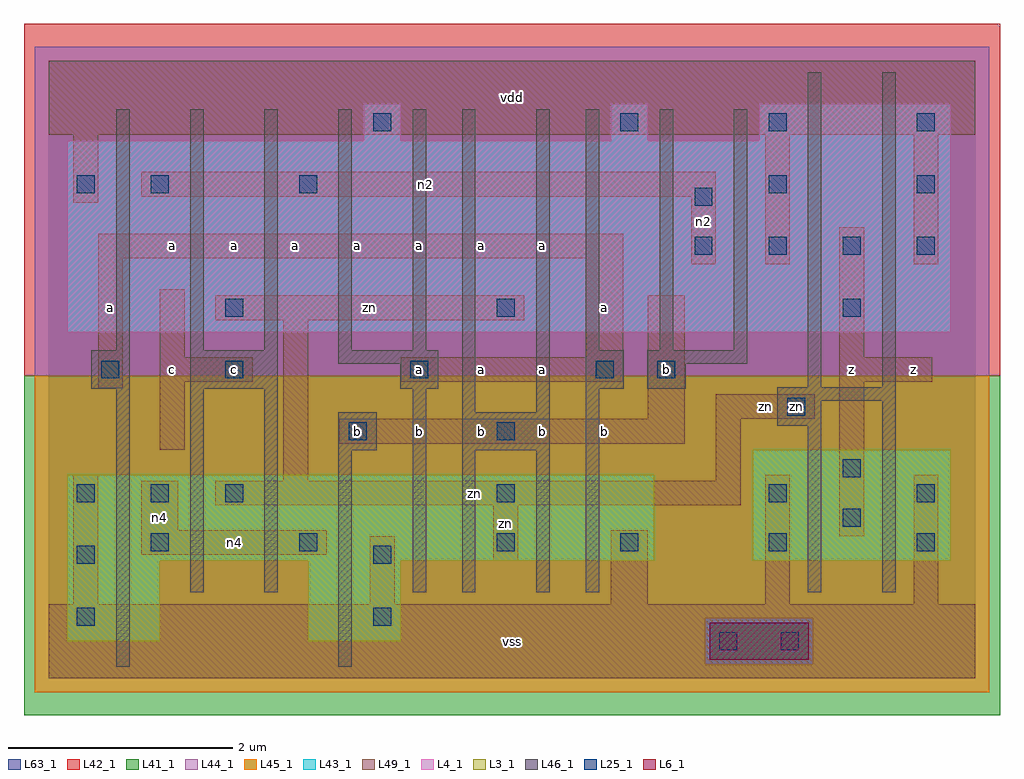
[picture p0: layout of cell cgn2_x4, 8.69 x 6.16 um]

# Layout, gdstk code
import gdstk
lib = gdstk.Library(unit=1e-6, precision=1e-09)
def R(c, l, rs):  # rectangles x0, y0, x1, y1
    for r in rs: c.add(gdstk.rectangle(r[:2], r[2:], *l))
def A(c, l, x, y, w, h, nx, ny, dx, dy):  # array of equal rectangles
    R(c, l, [(x+i*dx, y+j*dy, x+i*dx+w, y+j*dy+h) for i in range(nx) for j in range(ny)])
L3_1 = (3, 1)
L4_1 = (4, 1)
L6_1 = (6, 1)
L25_1 = (25, 1)
L41_1 = (41, 1)
L42_1 = (42, 1)
L43_1 = (43, 1)
L44_1 = (44, 1)
L45_1 = (45, 1)
L46_1 = (46, 1)
L49_1 = (49, 1)
L63_1 = (63, 1)

cgn2_x4 = lib.new_cell('cgn2_x4')
R(cgn2_x4, L3_1, [(0.165,0.33,0.99,1.045), (2.31,0.33,3.135,1.045), (0.165,1.045,5.39,1.815), (6.27,1.045,8.03,2.035)])
R(cgn2_x4, L4_1, [(0.165,3.08,8.03,4.785), (2.805,4.785,3.135,5.115), (5.005,4.785,5.335,5.115), (6.325,4.785,8.03,5.115)])
R(cgn2_x4, L6_1, [(5.885,0.165,6.765,0.495)])
A(cgn2_x4, L25_1, 5.09, 1.13, 0.16, 0.16, 3, 2, 1.32, 3.74)
A(cgn2_x4, L25_1, 0.25, 1.57, 0.16, 0.16, 3, 1, 0.66, 0)
A(cgn2_x4, L25_1, 1.57, 2.67, 0.16, 0.16, 3, 1, 1.65, 0)
A(cgn2_x4, L25_1, 5.75, 3.77, 0.16, 0.16, 4, 1, 0.66, 0)
R(cgn2_x4, L25_1, [(5.97,0.25,6.13,0.41), (6.52,0.25,6.68,0.41), (0.25,0.47,0.41,0.63), (2.89,0.47,3.05,0.63), (0.25,1.02,0.41,1.18), (2.89,1.02,3.05,1.18), (0.91,1.13,1.07,1.29), (2.23,1.13,2.39,1.29), (3.99,1.13,4.15,1.29), (7.07,1.35,7.23,1.51), (3.99,1.57,4.15,1.73), (6.41,1.57,6.57,1.73), (7.73,1.57,7.89,1.73), (7.07,1.79,7.23,1.95), (2.67,2.12,2.83,2.28), (3.99,2.12,4.15,2.28), (6.575,2.34,6.735,2.5), (0.47,2.67,0.63,2.83), (5.42,2.67,5.58,2.83), (1.57,3.22,1.73,3.38), (3.99,3.22,4.15,3.38), (7.07,3.22,7.23,3.38), (5.75,4.21,5.91,4.37), (0.25,4.32,0.41,4.48), (0.91,4.32,1.07,4.48), (2.23,4.32,2.39,4.48), (6.41,4.32,6.57,4.48), (7.73,4.32,7.89,4.48), (2.89,4.87,3.05,5.03)])
R(cgn2_x4, L41_1, [(-0.22,-0.33,8.47,2.695)])
R(cgn2_x4, L42_1, [(-0.22,2.695,8.47,5.83)])
R(cgn2_x4, L43_1, [(5.885,0.165,6.765,0.495), (0.165,0.33,0.99,1.045), (2.31,0.33,3.135,1.045), (0.165,1.045,5.39,1.815), (6.27,1.045,8.03,2.035), (0.165,3.08,8.03,4.785), (2.805,4.785,3.135,5.115), (5.005,4.785,5.335,5.115), (6.325,4.785,8.03,5.115)])
R(cgn2_x4, L44_1, [(5.845,0.125,6.805,0.535), (-0.125,2.695,8.375,5.625)])
R(cgn2_x4, L45_1, [(-0.125,-0.125,8.375,0.125), (-0.125,0.125,5.845,0.535), (6.805,0.125,8.375,0.535), (-0.125,0.535,8.375,2.695)])
A(cgn2_x4, L46_1, 0.6, 2.92, 0.12, 2.145, 5, 1, 0.66, 0)
A(cgn2_x4, L46_1, 4.78, 2.92, 0.12, 2.145, 3, 1, 0.66, 0)
R(cgn2_x4, L46_1, [(0.6,0.105,0.72,2.58), (2.58,0.105,2.7,2.03), (1.26,0.765,1.38,2.58), (1.92,0.765,2.04,2.58), (3.24,0.765,3.36,2.58), (3.68,0.765,3.8,2.03), (4.34,0.765,4.46,2.03), (4.78,0.765,4.9,2.58), (6.76,0.765,6.88,2.25), (7.42,0.765,7.54,2.47), (2.58,2.03,2.92,2.37), (3.68,2.03,4.46,2.37), (6.485,2.25,6.88,2.47), (3.68,2.37,3.8,5.065), (4.34,2.37,4.46,5.065), (6.485,2.47,7.54,2.59), (0.38,2.58,0.72,2.92), (1.26,2.58,2.04,2.92), (3.13,2.58,3.47,2.8), (4.78,2.58,5.12,2.92), (5.33,2.58,5.67,2.8), (6.76,2.59,6.88,5.395), (7.42,2.59,7.54,5.395), (2.58,2.8,3.47,2.92), (5.33,2.8,6.22,2.92)])
R(cgn2_x4, L49_1, [(0,0,8.25,0.66), (0.22,0.66,0.44,1.815), (2.86,0.66,3.08,1.265), (5.005,0.66,5.335,1.32), (6.38,0.66,6.6,1.815), (7.7,0.66,7.92,1.815), (3.96,1.045,4.18,1.54), (0.825,1.1,2.475,1.32), (7.04,1.265,7.26,2.64), (0.825,1.32,1.155,1.76), (1.485,1.54,6.16,1.76), (2.09,1.76,2.31,3.19), (5.94,1.76,6.16,2.31), (0.99,2.035,1.21,2.64), (2.585,2.09,5.665,2.31), (5.335,2.31,5.665,3.41), (5.94,2.31,6.82,2.53), (0.44,2.585,0.66,3.74), (0.99,2.64,1.815,2.86), (3.135,2.64,5.115,2.86), (7.04,2.64,7.865,2.86), (0.99,2.86,1.21,3.465), (4.785,2.86,5.115,3.74), (7.04,2.86,7.26,4.015), (1.485,3.19,4.235,3.41), (5.72,3.685,5.94,4.29), (6.38,3.685,6.6,4.84), (7.7,3.685,7.92,4.84), (0.44,3.74,5.115,3.96), (0.22,4.235,0.44,4.84), (0.825,4.29,5.94,4.51), (0,4.84,8.25,5.5)])
R(cgn2_x4, L63_1, [(0,0,8.25,5.5)])
cgn2_x4.add(gdstk.Label('zn', (6.655,2.42), layer=49, texttype=1))
cgn2_x4.add(gdstk.Label('n4', (0.99,1.43), layer=49, texttype=1))
cgn2_x4.add(gdstk.Label('c', (1.1,2.75), layer=49, texttype=1))
cgn2_x4.add(gdstk.Label('c', (1.1,2.75), layer=49, texttype=1))
cgn2_x4.add(gdstk.Label('a', (0.55,3.3), layer=49, texttype=1))
cgn2_x4.add(gdstk.Label('a', (0.55,3.3), layer=49, texttype=1))
cgn2_x4.add(gdstk.Label('a', (1.1,3.85), layer=49, texttype=1))
cgn2_x4.add(gdstk.Label('a', (1.1,3.85), layer=49, texttype=1))
cgn2_x4.add(gdstk.Label('n4', (1.65,1.21), layer=49, texttype=1))
cgn2_x4.add(gdstk.Label('b', (2.75,2.2), layer=49, texttype=1))
cgn2_x4.add(gdstk.Label('b', (2.75,2.2), layer=49, texttype=1))
cgn2_x4.add(gdstk.Label('c', (1.65,2.75), layer=49, texttype=1))
cgn2_x4.add(gdstk.Label('c', (1.65,2.75), layer=49, texttype=1))
cgn2_x4.add(gdstk.Label('a', (1.65,3.85), layer=49, texttype=1))
cgn2_x4.add(gdstk.Label('a', (1.65,3.85), layer=49, texttype=1))
cgn2_x4.add(gdstk.Label('a', (2.2,3.85), layer=49, texttype=1))
cgn2_x4.add(gdstk.Label('a', (2.75,3.85), layer=49, texttype=1))
cgn2_x4.add(gdstk.Label('a', (2.2,3.85), layer=49, texttype=1))
cgn2_x4.add(gdstk.Label('a', (2.75,3.85), layer=49, texttype=1))
cgn2_x4.add(gdstk.Label('vss', (4.125,0.33), layer=49, texttype=1))
cgn2_x4.add(gdstk.Label('vss', (4.125,0.33), layer=49, texttype=1))
cgn2_x4.add(gdstk.Label('zn', (4.07,1.375), layer=49, texttype=1))
cgn2_x4.add(gdstk.Label('b', (3.85,2.2), layer=49, texttype=1))
cgn2_x4.add(gdstk.Label('b', (4.4,2.2), layer=49, texttype=1))
cgn2_x4.add(gdstk.Label('b', (3.85,2.2), layer=49, texttype=1))
cgn2_x4.add(gdstk.Label('b', (4.4,2.2), layer=49, texttype=1))
cgn2_x4.add(gdstk.Label('b', (3.3,2.2), layer=49, texttype=1))
cgn2_x4.add(gdstk.Label('b', (3.3,2.2), layer=49, texttype=1))
cgn2_x4.add(gdstk.Label('a', (3.3,2.75), layer=49, texttype=1))
cgn2_x4.add(gdstk.Label('a', (3.3,2.75), layer=49, texttype=1))
cgn2_x4.add(gdstk.Label('a', (4.4,2.75), layer=49, texttype=1))
cgn2_x4.add(gdstk.Label('a', (3.85,2.75), layer=49, texttype=1))
cgn2_x4.add(gdstk.Label('a', (3.85,2.75), layer=49, texttype=1))
cgn2_x4.add(gdstk.Label('a', (4.4,2.75), layer=49, texttype=1))
cgn2_x4.add(gdstk.Label('zn', (2.86,3.3), layer=49, texttype=1))
cgn2_x4.add(gdstk.Label('a', (3.3,3.85), layer=49, texttype=1))
cgn2_x4.add(gdstk.Label('a', (3.3,3.85), layer=49, texttype=1))
cgn2_x4.add(gdstk.Label('a', (4.4,3.85), layer=49, texttype=1))
cgn2_x4.add(gdstk.Label('a', (3.85,3.85), layer=49, texttype=1))
cgn2_x4.add(gdstk.Label('a', (3.85,3.85), layer=49, texttype=1))
cgn2_x4.add(gdstk.Label('a', (4.4,3.85), layer=49, texttype=1))
cgn2_x4.add(gdstk.Label('vdd', (4.125,5.17), layer=49, texttype=1))
cgn2_x4.add(gdstk.Label('vdd', (4.125,5.17), layer=49, texttype=1))
cgn2_x4.add(gdstk.Label('zn', (3.795,1.65), layer=49, texttype=1))
cgn2_x4.add(gdstk.Label('b', (4.95,2.2), layer=49, texttype=1))
cgn2_x4.add(gdstk.Label('b', (4.95,2.2), layer=49, texttype=1))
cgn2_x4.add(gdstk.Label('b', (5.5,2.75), layer=49, texttype=1))
cgn2_x4.add(gdstk.Label('b', (5.5,2.75), layer=49, texttype=1))
cgn2_x4.add(gdstk.Label('a', (4.95,3.3), layer=49, texttype=1))
cgn2_x4.add(gdstk.Label('a', (4.95,3.3), layer=49, texttype=1))
cgn2_x4.add(gdstk.Label('n2', (5.83,4.07), layer=49, texttype=1))
cgn2_x4.add(gdstk.Label('n2', (3.355,4.4), layer=49, texttype=1))
cgn2_x4.add(gdstk.Label('zn', (6.38,2.42), layer=49, texttype=1))
cgn2_x4.add(gdstk.Label('z', (7.15,2.75), layer=49, texttype=1))
cgn2_x4.add(gdstk.Label('z', (7.7,2.75), layer=49, texttype=1))
cgn2_x4.add(gdstk.Label('z', (7.15,2.75), layer=49, texttype=1))
cgn2_x4.add(gdstk.Label('z', (7.7,2.75), layer=49, texttype=1))

lib.write_gds('cgn2_x4.gds')
